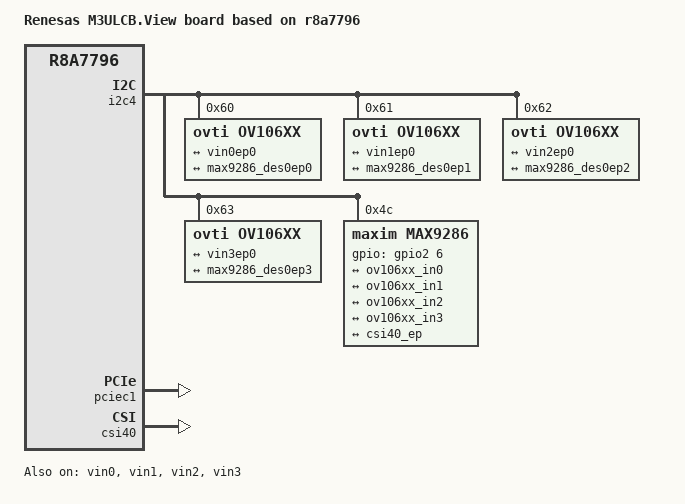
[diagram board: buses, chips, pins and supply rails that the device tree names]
/*
 * Device Tree Source for the M3ULCB.View board on r8a7796
 *
 * Copyright (C) 2016-2017 Renesas Electronics Corp.
 * Copyright (C) 2016-2017 Cogent Embedded, Inc.
 *
 * This file is licensed under the terms of the GNU General Public License
 * version 2.  This program is licensed "as is" without any warranty of any
 * kind, whether express or implied.
 */

#include "r8a7796-m3ulcb.dts"

/ {
	model = "Renesas M3ULCB.View board based on r8a7796";
};

&i2c4 {
	ov106xx@0 {
		compatible = "ovti,ov106xx";
		reg = <0x60>;

		port@0 {
			ov106xx_in0: endpoint {
				clock-lanes = <0>;
				data-lanes = <1 2 3 4>;
				remote-endpoint = <&vin0ep0>;
			};
		};
		port@1 {
			ov106xx_max9286_des0ep0: endpoint@0 {
				remote-endpoint = <&max9286_des0ep0>;
			};
		};
	};

	ov106xx@1 {
		compatible = "ovti,ov106xx";
		reg = <0x61>;

		port@0 {
			ov106xx_in1: endpoint {
				clock-lanes = <0>;
				data-lanes = <1 2 3 4>;
				remote-endpoint = <&vin1ep0>;
			};
		};
		port@1 {
			ov106xx_max9286_des0ep1: endpoint@0 {
				remote-endpoint = <&max9286_des0ep1>;
			};
		};
	};

	ov106xx@2 {
		compatible = "ovti,ov106xx";
		reg = <0x62>;

		port@0 {
			ov106xx_in2: endpoint {
				clock-lanes = <0>;
				data-lanes = <1 2 3 4>;
				remote-endpoint = <&vin2ep0>;
			};
		};
		port@1 {
			ov106xx_max9286_des0ep2: endpoint@0 {
				remote-endpoint = <&max9286_des0ep2>;
			};
		};
	};

	ov106xx@3 {
		compatible = "ovti,ov106xx";
		reg = <0x63>;

		port@0 {
			ov106xx_in3: endpoint {
				clock-lanes = <0>;
				data-lanes = <1 2 3 4>;
				remote-endpoint = <&vin3ep0>;
			};
		};
		port@1 {
			ov106xx_des0ep3: endpoint {
				remote-endpoint = <&max9286_des0ep3>;
			};
		};
	};

	max9286@0 {
		compatible = "maxim,max9286";
		reg = <0x4c>;
		gpios = <&gpio2 6 GPIO_ACTIVE_HIGH>;
		maxim,links = <4>;
		maxim,lanes = <4>;
		maxim,resetb-gpio = <1>;
		maxim,fsync-mode = "automatic";
		maxim,timeout = <100>;
		maxim,i2c-quirk = <0x6c>;

		port@0 {
			max9286_des0ep0: endpoint@0 {
				max9271-addr = <0x50>;
				dvp-order = <1>;
				remote-endpoint = <&ov106xx_in0>;
			};
			max9286_des0ep1: endpoint@1 {
				max9271-addr = <0x51>;
				dvp-order = <1>;
				remote-endpoint = <&ov106xx_in1>;
			};
			max9286_des0ep2: endpoint@2 {
				max9271-addr = <0x52>;
				dvp-order = <1>;
				remote-endpoint = <&ov106xx_in2>;
			};
			max9286_des0ep3: endpoint@3 {
				max9271-addr = <0x53>;
				dvp-order = <1>;
				remote-endpoint = <&ov106xx_in3>;
			};
		};
		port@1 {
			max9286_csi0ep0: endpoint {
				csi-rate = <700>;
				remote-endpoint = <&csi40_ep>;
			};
		};
	};
};

&pcie_bus_clk {
	clock-frequency = <100000000>;
	status = "okay";
};

&pciec1 {
	status = "okay";
};

&vin0 {
	status = "okay";

	ports {
		#address-cells = <1>;
		#size-cells = <0>;

		port@0 {
			vin0ep0: endpoint {
				csi,select = "csi40";
				virtual,channel = <0>;
				data-lanes = <1 2 3 4>;
				remote-endpoint = <&ov106xx_in0>;
			};
		};
		port@1 {
			csi0ep0: endpoint {
				remote-endpoint = <&csi40_ep>;
			};
		};
		port@2 {
			vin0_max9286_des0ep0: endpoint@0 {
				remote-endpoint = <&max9286_des0ep0>;
			};
		};
	};
};

&vin1 {
	status = "okay";

	ports {
		#address-cells = <1>;
		#size-cells = <0>;

		port@0 {
			vin1ep0: endpoint {
				csi,select = "csi40";
				virtual,channel = <1>;
				data-lanes = <1 2 3 4>;
				remote-endpoint = <&ov106xx_in1>;
			};
		};
		port@1 {
			csi0ep1: endpoint {
				remote-endpoint = <&csi40_ep>;
			};
		};
		port@2 {
			vin1_max9286_des0ep1: endpoint@0 {
				remote-endpoint = <&max9286_des0ep1>;
			};
		};
	};
};

&vin2 {
	status = "okay";

	ports {
		#address-cells = <1>;
		#size-cells = <0>;

		port@0 {
			vin2ep0: endpoint {
				csi,select = "csi40";
				virtual,channel = <2>;
				data-lanes = <1 2 3 4>;
				remote-endpoint = <&ov106xx_in2>;
			};
		};
		port@1 {
			csi0ep2: endpoint {
				remote-endpoint = <&csi40_ep>;
			};
		};
		port@2 {
			vin2_max9286_des0ep2: endpoint@0 {
				remote-endpoint = <&max9286_des0ep2>;
			};
		};
	};
};

&vin3 {
	status = "okay";

	ports {
		#address-cells = <1>;
		#size-cells = <0>;

		port@0 {
			vin3ep0: endpoint {
				csi,select = "csi40";
				virtual,channel = <3>;
				data-lanes = <1 2 3 4>;
				remote-endpoint = <&ov106xx_in3>;
			};
		};
		port@1 {
			csi0ep3: endpoint {
				remote-endpoint = <&csi40_ep>;
			};
		};
		port@2 {
			vin3_max9286_des0ep3: endpoint@0 {
				remote-endpoint = <&max9286_des0ep3>;
			};
		};
	};
};

&csi40 {
	status = "okay";

	virtual,channel {
		csi2_vc0 {
			data,type = "ycbcr422";
			receive,vc = <0>;
		};
		csi2_vc1 {
			data,type = "ycbcr422";
			receive,vc = <1>;
		};
		csi2_vc2 {
			data,type = "ycbcr422";
			receive,vc = <2>;
		};
		csi2_vc3 {
			data,type = "ycbcr422";
			receive,vc = <3>;
		};
	};

	port {
		#address-cells = <1>;
		#size-cells = <0>;

		csi40_ep: endpoint {
			clock-lanes = <0>;
			data-lanes = <1 2 3 4>;
			csi-rate = <300>;
		};
	};
};
